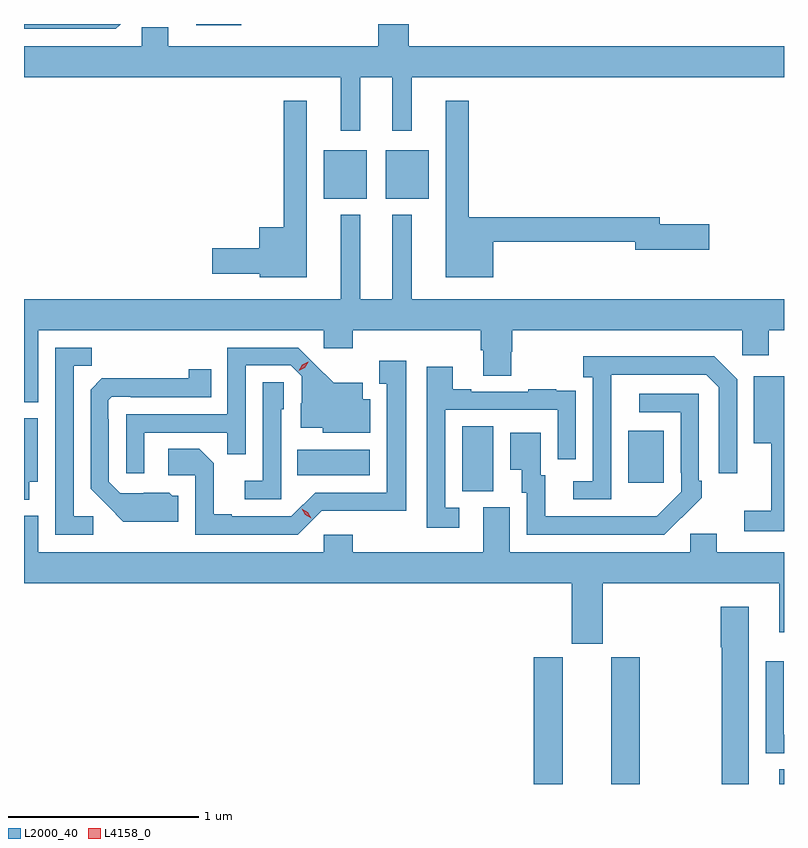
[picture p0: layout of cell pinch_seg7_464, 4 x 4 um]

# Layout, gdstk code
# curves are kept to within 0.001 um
import gdstk
lib = gdstk.Library(unit=1e-6, precision=1e-09)
def R(c, l, rs):  # rectangles x0, y0, x1, y1
    for r in rs: c.add(gdstk.rectangle(r[:2], r[2:], *l))
def P(c, l, *ps):  # polygons
    for p in ps: c.add(gdstk.Polygon(p, *l))
L2000_40 = (2000, 40)
L4158_0 = (4158, 0)

pinch_seg7_464 = lib.new_cell('pinch_seg7_464')
R(pinch_seg7_464, L2000_40, [(218.978,1066.16,219.13,1066.827), (219.386,1066.16,219.534,1066.827), (220.268,1066.16,220.294,1066.238), (218.6,1067.701,218.764,1068.044), (219.473,1067.745,219.661,1068.019), (217.732,1067.786,218.113,1067.92), (217.871,1069.241,218.098,1069.495), (218.198,1069.241,218.425,1069.495), (217.2,1070.154,217.437,1070.16)])
P(pinch_seg7_464, L2000_40, [(218.065,1069.88),(218.231,1069.88),(218.231,1069.599),(218.335,1069.599),(218.335,1069.88),(220.294,1069.88),(220.294,1070.044),(218.318,1070.044),(218.318,1070.16),(218.158,1070.16),(218.158,1070.044),(217.054,1070.044),(217.054,1070.142),(216.915,1070.142),(216.915,1070.044),(216.294,1070.044),(216.294,1069.88),(217.961,1069.88),(217.961,1069.599),(218.065,1069.599)],
  [(216.802,1070.16),(216.294,1070.16),(216.294,1070.136),(216.778,1070.136)],
  [(217.783,1069.756),(217.662,1069.756),(217.662,1069.09),(217.532,1069.09),(217.532,1068.98),(217.284,1068.98),(217.284,1068.845),(217.536,1068.845),(217.536,1068.827),(217.783,1068.827)],
  [(218.764,1069.014),(219.512,1069.014),(219.512,1068.971),(219.901,1068.971),(219.901,1069.106),(219.64,1069.106),(219.64,1069.142),(218.635,1069.142),(218.635,1069.756),(218.513,1069.756),(218.513,1068.827),(218.764,1068.827)],
  [(218.335,1069.156),(218.231,1069.156),(218.231,1068.712),(218.065,1068.712),(218.065,1069.156),(217.961,1069.156),(217.961,1068.712),(216.294,1068.712),(216.294,1068.17),(216.37,1068.17),(216.37,1068.548),(217.872,1068.548),(217.872,1068.453),(218.024,1068.453),(218.024,1068.548),(218.699,1068.548),(218.699,1068.442),(218.711,1068.442),(218.711,1068.31),(218.859,1068.31),(218.859,1068.435),(218.864,1068.435),(218.864,1068.548),(220.074,1068.548),(220.074,1068.417),(220.213,1068.417),(220.213,1068.548),(220.294,1068.548),(220.294,1068.712),(218.335,1068.712)],
  [(216.658,1067.568),(216.555,1067.568),(216.555,1068.361),(216.651,1068.361),(216.651,1068.456),(216.459,1068.456),(216.459,1067.472),(216.658,1067.472)],
  [(216.927,1068.009),(217.363,1068.009),(217.363,1067.896),(217.461,1067.896),(217.461,1068.363),(217.698,1068.363),(217.755,1068.306),(217.755,1068.164),(217.751,1068.164),(217.751,1068.035),(217.866,1068.035),(217.866,1068.008),(218.116,1068.008),(218.116,1068.184),(218.077,1068.184),(218.077,1068.271),(217.925,1068.271),(217.738,1068.456),(217.365,1068.456),(217.365,1068.105),(216.831,1068.105),(216.831,1067.796),(216.927,1067.796)],
  [(219.384,1068.115),(219.385,1068.315),(219.885,1068.315),(219.951,1068.249),(219.951,1067.796),(220.047,1067.796),(220.047,1068.291),(219.926,1068.412),(219.237,1068.412),(219.237,1068.302),(219.288,1068.302),(219.288,1067.754),(219.186,1067.754),(219.186,1067.658),(219.384,1067.658)],
  [(217.86,1067.598),(218.305,1067.597),(218.305,1068.388),(218.165,1068.388),(218.165,1068.267),(218.204,1068.267),(218.204,1067.694),(217.827,1067.694),(217.701,1067.568),(217.387,1067.568),(217.387,1067.581),(217.293,1067.581),(217.293,1067.848),(217.217,1067.924),(217.053,1067.924),(217.053,1067.784),(217.194,1067.784),(217.194,1067.472),(217.734,1067.472)],
  [(218.584,1067.613),(218.511,1067.613),(218.511,1068.129),(219.102,1068.129),(219.102,1067.868),(219.198,1067.868),(219.198,1068.122),(219.197,1068.122),(219.197,1068.231),(219.095,1068.231),(219.095,1068.238),(218.947,1068.238),(218.947,1068.225),(218.647,1068.225),(218.647,1068.238),(218.551,1068.238),(218.551,1068.355),(218.415,1068.355),(218.415,1067.508),(218.584,1067.508)],
  [(217.105,1067.676),(217.074,1067.676),(217.058,1067.692),(216.801,1067.691),(216.741,1067.751),(216.741,1068.08),(216.738,1068.08),(216.738,1068.18),(216.756,1068.198),(216.856,1068.198),(216.856,1068.195),(217.28,1068.195),(217.28,1068.343),(217.162,1068.343),(217.162,1068.296),(216.704,1068.295),(216.645,1068.236),(216.645,1067.714),(216.817,1067.54),(217.105,1067.54)],
  [(220.294,1068.307),(220.136,1068.307),(220.136,1067.954),(220.226,1067.954),(220.226,1067.599),(220.086,1067.599),(220.086,1067.49),(220.294,1067.49)],
  [(217.647,1068.132),(217.662,1068.132),(217.662,1068.275),(217.551,1068.275),(217.551,1067.755),(217.455,1067.755),(217.455,1067.658),(217.647,1067.658)],
  [(219.755,1067.563),(219.756,1067.562),(219.861,1067.667),(219.861,1067.755),(219.846,1067.755),(219.846,1068.213),(219.531,1068.213),(219.531,1068.117),(219.75,1068.117),(219.75,1067.797),(219.753,1067.797),(219.753,1067.697),(219.625,1067.569),(219.037,1067.568),(219.037,1067.784),(219.013,1067.784),(219.013,1068.01),(218.852,1068.01),(218.852,1067.813),(218.915,1067.813),(218.915,1067.694),(218.94,1067.694),(218.94,1067.472),(219.664,1067.472)],
  [(216.322,1067.75),(216.367,1067.75),(216.367,1068.085),(216.294,1068.085),(216.294,1067.657),(216.322,1067.657)],
  [(219.34,1067.216),(220.268,1067.216),(220.268,1066.959),(220.294,1066.959),(220.294,1067.38),(219.94,1067.38),(219.94,1067.478),(219.801,1067.478),(219.801,1067.38),(218.851,1067.38),(218.851,1067.616),(218.711,1067.616),(218.711,1067.38),(218.024,1067.38),(218.024,1067.473),(217.872,1067.473),(217.872,1067.38),(216.37,1067.38),(216.37,1067.572),(216.294,1067.572),(216.294,1067.216),(219.176,1067.216),(219.176,1066.899),(219.34,1066.899)],
  [(220.108,1067.092),(219.962,1067.092),(219.962,1066.879),(219.967,1066.879),(219.967,1066.16),(220.108,1066.16)],
  [(220.294,1066.419),(220.293,1066.419),(220.293,1066.807),(220.197,1066.807),(220.197,1066.323),(220.294,1066.323)])
P(pinch_seg7_464, L4158_0, [(217.805,1067.558),(217.773,1067.577),(217.756,1067.609),(217.756,1067.609),(217.756,1067.609),(217.788,1067.59),(217.805,1067.558),(217.805,1067.558)],
  [(217.741,1068.336),(217.741,1068.336),(217.758,1068.366),(217.789,1068.382),(217.789,1068.382),(217.789,1068.381),(217.772,1068.351),(217.741,1068.336)])

lib.write_gds('pinch_seg7_464.gds')
